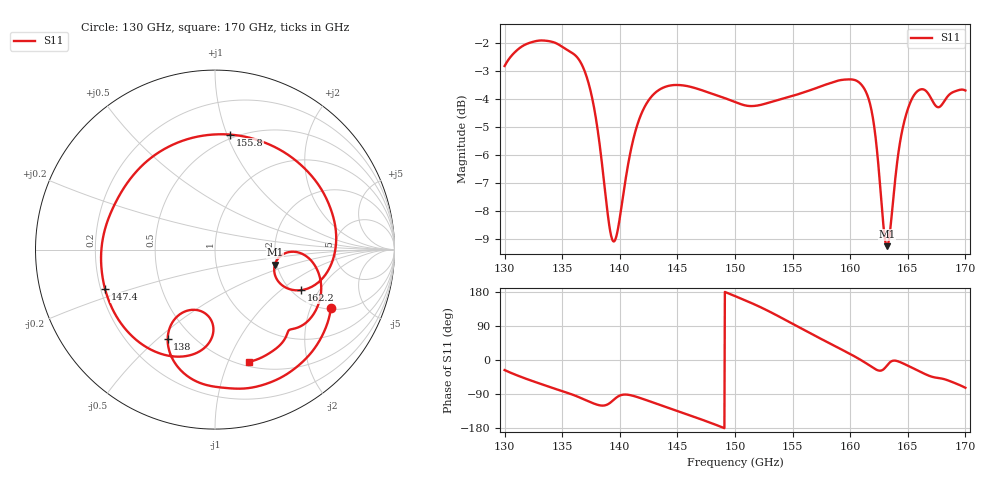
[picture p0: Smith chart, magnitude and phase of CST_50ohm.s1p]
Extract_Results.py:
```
"""Use actual CST exports to calculate the common-50-ohm comparison and figures."""
from pathlib import Path
import argparse, csv, json, math, re, os
import numpy as np
ROOT=Path(__file__).resolve().parents[1]
path_from_project='08_Efficiency_Optimisation/06_Final_Candidate/TELE9782_DBand_Efficiency_Final'
BASE=Path(os.environ['TELE9782_BASELINE_DIR']) if 'TELE9782_BASELINE_DIR' in os.environ else ROOT.parent/path_from_project
if not (BASE/'parameters.json').exists():BASE=ROOT.parent/'Project_Final'/path_from_project
COMP=ROOT/'03_Comparison'
RESULTS=ROOT/'02_Simulation_Results'
def read(path):
    return json.loads(path.read_text(encoding='utf-8-sig'))
def raw(folder,name):
    with (folder/(name+'.csv')).open(newline='',encoding='utf-8-sig') as f:
        a=list(csv.DictReader(f))
    return np.array([float(row['x']) for row in a]),np.array([complex(float(row['real']),float(row['imag'])) for row in a])
def write(path,rows):
    path.parent.mkdir(parents=True,exist_ok=True)
    with path.open('w',newline='',encoding='utf-8-sig') as f:
        if rows:
            w=csv.DictWriter(f,list(rows[0]));w.writeheader();w.writerows(rows)
def write_json(path,obj):
    path.parent.mkdir(parents=True,exist_ok=True)
    path.write_text(json.dumps(obj,indent=2,ensure_ascii=False),encoding='utf-8')
def pattern(folder,filename='Farfield_150_Sphere.txt'):
    a=np.loadtxt(folder/filename,skiprows=2)
    t=np.unique(a[:,0]);p=np.unique(a[:,1]);a=a[np.lexsort((a[:,0],a[:,1]))]
    assert len(a)==len(p)*len(t) and t[0]==0 and t[-1]==180
    d=a[:,2].reshape(len(p),len(t))
    return a,t,p,d
def cut(t,p,d,phi):
    first=d[np.where(p==phi)[0][0]]
    other=d[np.where(p==phi+180)[0][0]]
    x=np.r_[-t[:0:-1],t];y=np.r_[other[:0:-1],first]
    peak=np.argmax(np.where(abs(x)<=90,y,-np.inf));level=y[peak]-3
    dx=[]
    for sign in [-1,1]:
        i=peak
        while 0<=i+sign<len(x) and y[i+sign]>=level:i+=sign
        j=i+sign
        if not 0<=j<len(x):return x,y,None
        dx.append(x[i]+(level-y[i])*(x[j]-x[i])/(y[j]-y[i]))
    return x,y,float(dx[1]-dx[0])
def bandwidth(f,y):
    right=np.flatnonzero(f>=150)[0];inside=y<=-10
    if not inside[right]:return 0.,None,None
    lo=right;hi=right
    while lo>0 and inside[lo-1]:lo-=1
    while hi+1<len(f) and inside[hi+1]:hi+=1
    def cross(j,k):return float(f[j]+(-10-y[j])*(f[k]-f[j])/(y[k]-y[j]))
    a=float(f[0]) if lo==0 else cross(lo-1,lo)
    b=float(f[-1]) if hi==len(f)-1 else cross(hi,hi+1)
    return b-a,a,b
def observations(folder):
    dct=read(folder/'summary.json');c=read(folder/'parameters.json')
    monitor=next(x for x in dct['farfields'] if x['f_GHz']==150)
    f,g=raw(folder,'1D Results_S-Parameters_S1,1')
    fr,zr=raw(folder,'1D Results_Reference Impedance_ZRef 1(1)')
    z0=np.interp(f,fr,zr.real)
    z=z0*(1+g)/(1-g);g50=(z-50)/(z+50)
    k=int(np.argmin(abs(f-150)));assert abs(f[k]-150)<.0001
    db=20*np.log10(abs(g50));bw,flo,fhi=bandwidth(f,db)
    def p(term):
        x,y=raw(folder,'1D Results_Power_Excitation [1]_'+term);i=int(np.argmin(abs(x-150)))
        assert abs(x[i]-150)<2e-5,term
        return float(y[i].real)
    accepted=p('Power Accepted'); radiated=p('Power Radiated');gold=p('Loss in Metals');pi=p('Loss in Dielectrics')
    port=p('Power Absorbed at all Ports');pout=p('Power Outgoing all Ports');stim=p('Power Stimulated')
    rad=radiated/accepted;total=rad*(1-abs(g50[k])**2)
    grid,t,phi,d=pattern(folder)
    peak=grid[grid[:,2].argmax()]
    eang,ep,eh=cut(t,phi,d,90);hang,hp,hh=cut(t,phi,d,0)
    broad=float(d[0,0]);gain_ratio=10*math.log10(total);dmax=monitor['Dmax_dBi']
    sphere_rows=grid[grid[:,1]<360];sphere_integral=float(np.sum(10**(sphere_rows[:,2]/10)*np.sin(np.radians(sphere_rows[:,0])))*math.radians(t[1]-t[0])*math.radians(phi[1]-phi[0])/(4*np.pi))
    filename=next(folder.glob('*.cst'))
    log=(filename.with_suffix('')/'Result/Model.log').read_text(errors='replace')
    cells=re.findall(r'Number of mesh cells:\s*([\d,]+)',log)
    calc=re.findall(r'Total simulation time:\s*([\d,.]+)',log)
    completed=re.findall(r'(\d{4}-\d{2}-\d{2} \d\d:\d\d:\d\d)\s+Steady state energy criterion met',log)
    ver=read(folder/'Export_Complete.json') if (folder/'Export_Complete.json').is_file() else {}
    geometry=read(folder/'layout.json') if (folder/'layout.json').is_file() else {}
    res= dict(design=folder.name,frequency_GHz=150,patch_count=16 if geometry else 2,
        radiation_efficiency_pct=100*rad,total_efficiency_50ohm_pct=100*total,
        s11_50ohm_dB=float(db[k]),input_r_ohm=float(z[k].real),input_x_ohm=float(z[k].imag),modal_reference_ohm=float(z0[k]),
        directivity_dBi=dmax,peak_realized_gain_50ohm_dBi=dmax+gain_ratio,
        plus_z_directivity_dBi=broad,plus_z_realized_gain_50ohm_dBi=broad+gain_ratio,
        beam_theta_deg=float(peak[0]),beam_phi_deg=float(peak[1]),angular_step_deg=float(t[1]-t[0]),
        e_plane_hpbw_deg=eh,h_plane_hpbw_deg=hh,bandwidth_10dB_GHz=bw,band_lower_GHz=flo,band_upper_GHz=fhi,
        best_match_freq_GHz=float(f[np.argmin(db)]),best_s11_50ohm_dB=float(np.min(db)),
        stimulated_W=stim,accepted_W=accepted,radiated_W=radiated,metal_loss_W=gold,dielectric_loss_W=pi,port_absorption_W=port,
        balance_residual_W=accepted-radiated-gold-pi-port,
        metal_loss_pct_accepted=gold/accepted*100,dielectric_loss_pct_accepted=pi/accepted*100,
        port_absorption_pct_accepted=port/accepted*100,balance_residual_pct_accepted=(accepted-radiated-gold-pi-port)/accepted*100,
        accepted_identity_residual_W=stim-pout-accepted,
        directivity_sphere_mean=sphere_integral,radiation_efficiency_minus_monitor_pp=100*(rad-10**(monitor['rad_eff_dB']/10)),
        board_width_mm=geometry.get('board_width_mm',c.get('ground_width')),board_length_mm=geometry.get('board_length_mm',c.get('ground_length')),
        T_junctions=geometry.get('junctions',1),feed_total_centerline_mm=geometry.get('network_total_centerline_mm'),
        port_to_inset_centerline_mm=geometry.get('equal_path_to_inset_mm'),
        mesh_cells=int(cells[-1].replace(',','')) if cells else None,steps_per_wave_near=c['mesh_near'],
        steps_per_box_near=c['mesh_box'],solver_state=dct['solver']['state'],solver_log_completion=completed[-1] if completed else None,
        reported_solver_calculation_seconds=float(calc[-1].replace(',','')) if calc else None,run_plus_export_wall_seconds=ver.get('wall_seconds') if ver.get('wall_scope')!='export_only' else None,
        recovered_export_wall_seconds=ver.get('wall_seconds') if ver.get('wall_scope')=='export_only' else None,
        native_project=str(filename))
    if not geometry:
        inlet=c['junction_y']+c['ground_length']/2+c['launch_length']
        leaf=c['array_spacing']/2-c['patch_length']/2+c['inset_length']-c['junction_y']
        res.update(feed_total_centerline_mm=inlet+2*leaf,port_to_inset_centerline_mm=inlet+leaf)
    path=folder/'CST_50ohm.s1p'
    if path.is_file():
        rows=np.array([list(map(float,s.split())) for s in path.read_text().splitlines() if s.strip() and not s.lstrip().startswith(('!','#'))])
        assert len(rows)==len(f) and np.max(abs(rows[:,0]-f))<.00005
        res['touchstone_max_complex_delta']=float(np.max(abs(g50-(rows[:,1]+1j*rows[:,2]))))
        assert res['touchstone_max_complex_delta']<.0001
    else:res['touchstone_max_complex_delta']=None
    rn=folder/'RealizedGain_Native_150_Sphere.txt'
    if rn.is_file():
        n,*_=pattern(folder,rn.name);assert np.array_equal(n[:,:2],grid[:,:2])
        delta=10*math.log10(abs(1-abs(g50[k])**2)/(1-abs(g[k])**2))
        res['native_gain_renormalized_peak_dBi']=float(n[:,2].max()+delta)
        res['native_gain_peak_delta_dB']=res['native_gain_renormalized_peak_dBi']-res['peak_realized_gain_50ohm_dBi']
        assert abs(res['native_gain_peak_delta_dB'])<.05
    else:res.update(native_gain_renormalized_peak_dBi=None,native_gain_peak_delta_dB=None)
    res['maximum_port_extension_mm']=geometry['board_x'][0]-geometry['port_x'] if geometry else c['launch_length']
    res['bounding_width_mm']=res['board_width_mm']+(res['maximum_port_extension_mm'] if geometry else 0)
    res['bounding_length_mm']=res['board_length_mm']+(0 if geometry else c['launch_length'])
    return res,(f,db),(eang,ep),(hang,hp),grid
def volts(folder):
    file=folder/'Patch_Feed_Ez150.txt'
    if not file.is_file():return [],{}
    a=np.loadtxt(file,skiprows=2);l=read(folder/'layout.json');assert len(a)==len(l['patches'])==16
    u=a[:,7]+1j*a[:,8];u0=np.angle(np.mean(u/abs(u)))
    rows=[]
    for i,x in enumerate(a):
        p=l['patches'][i];assert abs(x[0]-p['x'])<1e-7 and abs(x[1]-p['probe_y'])<1e-7
        rows.append(dict(patch=p['name'],x_mm=x[0],y_mm=x[1],z_mm=x[2],Ez_re_Vm=x[7],Ez_im_Vm=x[8],Ez_abs_Vm=abs(u[i]),Ez_phase_about_circular_mean_deg=np.degrees(np.angle(u[i]*np.exp(-1j*u0)))))
    return rows,dict(connected_patch_probes=len(rows),minimum_Ez_Vm=float(min(abs(u))),maximum_Ez_Vm=float(max(abs(u))),
            magnitude_spread_dB=float(20*np.log10(max(abs(u))/min(abs(u)))),maximum_abs_relative_phase_deg=float(max(abs(x['Ez_phase_about_circular_mean_deg']) for x in rows)))
def initial_report():
    r,*_=observations(BASE);s=read(BASE/'completed.json')
    for col,key in [('radiation_efficiency_pct','eta'),('s11_50ohm_dB','S11_50'),('peak_realized_gain_50ohm_dBi','G50'),('bandwidth_10dB_GHz','bandwidth50')]:
        assert math.isclose(r[col],s[key],abs_tol=1e-9)
    write_json(RESULTS/'Verification/Baseline_1x2_Independent_Recalculation.json',r)
def figures(values,folder):
    import matplotlib
    matplotlib.use('Agg')
    import matplotlib.pyplot as plt
    out=COMP/'Comparison_Figures';out.mkdir(parents=True,exist_ok=True)
    def save(f,name):
        f.tight_layout();f.savefig(out/(name+'.png'),dpi=180,bbox_inches='tight');plt.close(f)
    names=['Optimised 1×2','Basic 4×4']
    fig,ax=plt.subplots(figsize=(7.8,4.5))
    for label,(_,v,*_) in zip(names,values):ax.plot(*v,label=label)
    ax.axhline(-10,color='gray',ls='--');ax.axvline(150,color='gray',alpha=.6,ls=':')
    ax.set(xlabel='Frequency (GHz)',ylabel='S11 re-referenced to 50 Ω (dB)');ax.grid(alpha=.2);ax.legend()
    save(fig,'S11_50ohm')
    fig,axes=plt.subplots(1,2,figsize=(11,4.5),sharey=True)
    for label,(metrics,_,e,h,_) in zip(names,values):
        for name,ax,cutval in zip(['E plane (YZ)','H plane (XZ)'],axes,[e,h]):
            ax.plot(*cutval,label=label);ax.set(title=name,xlabel='Signed θ (degrees)',xlim=(-90,90));ax.grid(alpha=.2);ax.legend()
    axes[0].set_ylabel('Directivity (dBi)');save(fig,'E_H_Planes')
    labels=['Radiated','Metal loss','Dielectric loss','Port absorption','Residual']
    power=['radiated_W','metal_loss_W','dielectric_loss_W','port_absorption_W','balance_residual_W']
    fig,axes=plt.subplots(1,2,figsize=(10,5))
    for normalized,ax in zip([False,True],axes):
        pos=np.arange(len(labels))
        for j,(q,*_) in enumerate(values):
            vals=[q[k]*(100/q['accepted_W'] if normalized else 1000) for k in power];ax.bar(pos+(j-.5)*.34,vals,width=.34,label=names[j])
        ax.set_xticks(pos,labels,rotation=22,ha='right');ax.set_ylabel('Share of accepted power (%)' if normalized else 'CST power (mW)');ax.legend();ax.grid(axis='y',alpha=.2)
    save(fig,'Power_Absolute_and_Normalized')
    fig,ax=plt.subplots(subplot_kw={'projection':'3d'},figsize=(7,6))
    grid,t,p,d=pattern(folder)
    pp,tt=np.meshgrid(np.radians(np.r_[p,p[0]+360]),np.radians(t),indexing='ij')
    val=np.vstack([d,d[0]]);radius=np.clip((val+10)/max(1,val.max()+10),0,1)
    ax.plot_surface(radius*np.sin(tt)*np.cos(pp),radius*np.sin(tt)*np.sin(pp),radius*np.cos(tt),
                    facecolors=plt.cm.viridis(radius),edgecolor='none',rstride=3,cstride=3)
    ax.set(xlabel='X',ylabel='Y',zlabel='Z',title='4×4 CST directivity at 150 GHz')
    ax.set_box_aspect((1,1,1));fig.colorbar(plt.cm.ScalarMappable(norm=plt.Normalize(-10,val.max()),cmap='viridis'),ax=ax,label='Directivity (dBi)')
    save(fig,'4x4_3D_Directivity')
    fig,ax=plt.subplots(subplot_kw={'projection':'3d'},figsize=(7,6))
    ratio=10*np.log10(values[1][0]['total_efficiency_50ohm_pct']/100)
    gain=val+ratio;radius=np.clip((gain+15)/max(1,gain.max()+15),0,1)
    ax.plot_surface(radius*np.sin(tt)*np.cos(pp),radius*np.sin(tt)*np.sin(pp),radius*np.cos(tt),
                    facecolors=plt.cm.plasma(radius),edgecolor='none',rstride=3,cstride=3)
    ax.set(xlabel='X',ylabel='Y',zlabel='Z',title='4×4 realized gain at 150 GHz, 50 Ω')
    ax.set_box_aspect((1,1,1));fig.colorbar(plt.cm.ScalarMappable(norm=plt.Normalize(-15,gain.max()),cmap='plasma'),ax=ax,label='Realized gain (dBi)')
    save(fig,'4x4_3D_Realized_Gain_50ohm')
    current=folder/'Surface_Current_150.txt'
    if current.is_file():
        s=np.loadtxt(current,skiprows=2);h=read(folder/'parameters.json')['substrate_h']
        s=s[(s[:,2]>h*.75)&(np.linalg.norm(s[:,3:9],axis=1)>0)]
        field=np.linalg.norm(s[:,3:9],axis=1)
        fig,ax=plt.subplots(figsize=(7,6));c=ax.scatter(s[:,0],s[:,1],c=field,s=3,cmap='inferno',vmax=np.percentile(field,99));ax.set(aspect='equal',xlabel='x (mm)',ylabel='y (mm)');fig.colorbar(c,ax=ax,label='CST surface-current magnitude (A/m), 99th percentile scale');save(fig,'4x4_Surface_Current_150')
def publish(folder):
    b=observations(BASE);q=observations(folder);r=q[0];m=b[0]
    assert r['solver_state']=='SUCCESS'
    probes,qual=volts(folder)
    cols=['s11_50ohm_dB','radiation_efficiency_pct','total_efficiency_50ohm_pct','directivity_dBi','peak_realized_gain_50ohm_dBi','plus_z_realized_gain_50ohm_dBi',
          'bandwidth_10dB_GHz','beam_theta_deg','metal_loss_pct_accepted','dielectric_loss_pct_accepted']
    change={k:r[k]-m[k] for k in cols}
    write(COMP/'Array_1x2_vs_4x4_Comparison.csv',[m,r]);write_json(RESULTS/'Verification/Final_Metrics.json',dict(baseline=m,array4x4=r,change=change,feed_probes=qual))
    write(RESULTS/'Farfield/Patch_Feed_Probes_150.csv',probes)
    for name,data in [('1x2',b),('4x4',q)]:
        v,f,e,h,grid=data
        write(RESULTS/f'S_Parameters/{name}_S11_50ohm.csv',[dict(frequency_GHz=x,S11_50ohm_dB=y) for x,y in zip(*f)])
        for plane,(ang,d) in [('E',e),('H',h)]:
            k=10*np.log10(v['total_efficiency_50ohm_pct']/100)
            write(RESULTS/f'Farfield/{name}_{plane}_plane_150.csv',[dict(theta_signed_deg=t,directivity_dBi=z,realized_gain_50ohm_dBi=z+k) for t,z in zip(ang,d)])
    write(RESULTS/'Power_Loss/Power_Balance_150.csv',[{k:v for k,v in row.items() if k=='design' or k.endswith(('_W','_accepted'))} for row in [m,r]])
    write(RESULTS/'Efficiency/Frequency_Monitors.csv',[{'design':tag,**mon} for tag,fo in [('1x2',BASE),('4x4',folder)] for mon in read(fo/'summary.json')['farfields']])
    figures([b,q],folder)
    print('FINAL_METRICS',r)
if __name__=='__main__':
    parser=argparse.ArgumentParser()
    parser.add_argument('case',nargs='?',default='Final_4x4')
    parser.add_argument('--summary',action='store_true')
    parser.add_argument('--baseline',action='store_true')
    args=parser.parse_args()
    if args.baseline:initial_report()
    else:
        folder=ROOT/'01_CST_Project'/args.case
        if args.summary:print(json.dumps(observations(folder)[0],indent=2))
        else:publish(folder)
```
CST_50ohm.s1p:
! TOUCHSTONE file generated by CST MICROWAVE STUDIO
! Date and time: Fri Nov 20 23:23:44 2026
! Project name: Licensed_23_33_4x4.cst
! Parameters = {board_x_max=2.4; board_x_min=-3.12; eps_r=3.5; feed_width=0.1688; first_split_x=-2.9; inlet_rail_separation=0.225; inset_gap=0.02; inset_length=0.165; launch_length=0.5; loss_tangent=0.0027; match_length=0.14; match_start=0.17; match_width=0.045; mesh_box=33; mesh_near=23; metal_thic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
! Header version: 2024
! Port assignment regex: !\s*Touchstone port\s*([0-9]+)\s*=\s*(CST MWS port|CST DES external port|CST DES block port)\s*(.+)\s* \(\"(.*)\"\)(\s*mode\s*([0-9]+))?.*
! Touchstone port assignment:
! Touchstone port 1 = CST MWS port 1 ("50ohm_microstrip")
# GHz S RI R 50
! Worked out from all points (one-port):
!   1001 points, 130 GHz to 170 GHz, reference 50 ohm
!   lowest |S11| = -9.3 dB at 163.2 GHz (marker M1), VSWR 2.05, Z = 97.6 - j18.8 ohm
!   |S11| at or under -10 dB: nowhere
!   S11 on the Smith chart (normalised r, x): 130 GHz: 2.09, -2.81; 138 GHz: 0.37, -0.54; 147.4 GHz: 0.22, -0.16; 155.8 GHz: 0.47, +1.03; 162.2 GHz: 2.23, -1.40; 170 GHz: 0.55, -1.19
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130  0.646 -0.3226
134.36  0.1958 -0.7703
138.04  -0.2637 -0.4964
140.48  -0.0089 -0.4498
143.36  -0.2986 -0.5814
147.4  -0.6131 -0.2182
151.84  -0.5004 0.3545
155.8  0.0838 0.6408
156.68  0.2424 0.6088
160.12  0.6634 0.1634
162.24  0.4797 -0.2258
163.2  0.3335 -0.0848
165.52  0.5901 -0.2464
170  0.188 -0.6252
